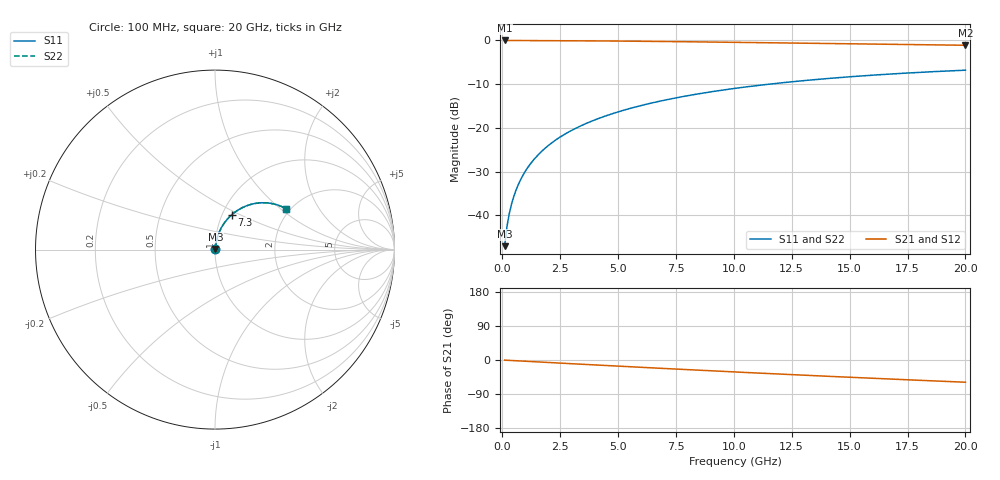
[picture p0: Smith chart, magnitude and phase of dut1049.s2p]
! Touchstone file exported from HFSS 2026.1.0
!  File:  C:/ffzhzh/LocalFiles/Ansys_Project_Files/temp_train_BSMRDL_1049_1783173895_55132.aedt
!  Generated:  10:06:20 PM Jul  4, 2026
!  Design:  BSMRDL
!  Project:  temp_train_BSMRDL_1049_1783173895_55132
! Variables:
!  h_bsmrdl = 4.6um
!  h_ox = 20um
!  h_rdl = 5um
!  h_sub = 80um
!  h_tmrdl = 5um
!  h_tsv = 80um
!  h_via = 3um
!  l_bsmrdl = 926.06um
!  l_sub = 1326.06um
!  l_tmrdl = 200um
!  m_sub = 200um
!  pitch = 58.53um
!  r_tsv = 6um
!  s_tmrdl = 10um
!  w_bsmrdl = 28.5um
!  w_sub = 500um
!  w_tmrdl = 12um
!  x_tsv_center1 = 206um
!  x_tsv_center2 = 1160.56um
!  x_tsv_center3 = 1372.56um
!  x_tsv_center4 = 2327.12um
!  x_tsv_center5 = 2539.12um
!  x_tsv_center6 = 3493.68um
# GHz S MA R 50.000000
! Terminal data exported
! Port[1] = BSM_RDL1_1_T1
! Port[2] = BSM_RDL1_1_T2
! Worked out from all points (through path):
!   200 points, 100 MHz to 20 GHz, reference 50 ohm
!   highest |S21| = -0.02 dB at 100 MHz (marker M1); lowest = -1.1 dB at 20 GHz (marker M2)
!   group delay of S21, straight-line fit = 8.14 ps
!   lowest |S11| = -47.1 dB at 100 MHz (marker M3), VSWR 1.01, Z = 50.3 + j0.349 ohm
!   |S11| at or under -10 dB: start of sweep to 11.56 GHz
!   |S22| runs from -47.1 to -6.8 dB; largest |S21 - S12| = 1.3e-14
!   S11 on the Smith chart (normalised r, x): 100 MHz: 1.01, +0.01; 7.3 GHz: 1.11, +0.45; 20 GHz: 1.89, +1.09
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0.1  0.004436 51.4  0.9972 -0.3  0.9972 -0.3  0.004436 51.4
! Gamma 0 0 0 0
! Port Impedance 50 0 50 0
0.2  0.00739 65.5  0.997 -0.7  0.997 -0.7  0.00739 65.5
0.3  0.01041 71.3  0.9968 -1.0  0.9968 -1.0  0.01041 71.3
0.4  0.01345 74.6  0.9966 -1.3  0.9966 -1.3  0.01345 74.6
0.5  0.01651 76.6  0.9965 -1.7  0.9965 -1.7  0.01651 76.6
0.7  0.0227 78.9  0.9963 -2.3  0.9963 -2.3  0.0227 78.9
1  0.03204 80.2  0.9959 -3.3  0.9959 -3.3  0.03204 80.2
1.2  0.03828 80.4  0.9955 -4.0  0.9955 -4.0  0.03828 80.4
1.4  0.04452 80.4  0.9952 -4.6  0.9952 -4.6  0.04452 80.4
1.7  0.05385 80.1  0.9945 -5.6  0.9945 -5.6  0.05385 80.1
2  0.06313 79.5  0.9937 -6.6  0.9937 -6.6  0.06313 79.5
2.7  0.08457 77.8  0.9916 -8.9  0.9916 -8.9  0.08457 77.8
3.5  0.1086 75.6  0.9885 -11.4  0.9885 -11.4  0.1086 75.6
4.2  0.1292 73.6  0.9854 -13.7  0.9854 -13.7  0.1291 73.6
5  0.1521 71.2  0.9815 -16.2  0.9815 -16.2  0.1521 71.2
6.8  0.2016 65.9  0.9713 -21.8  0.9713 -21.8  0.2016 65.9
7.3  0.2148 64.4  0.9682 -23.3  0.9682 -23.3  0.2148 64.4
8.6  0.2478 60.7  0.9597 -27.3  0.9597 -27.3  0.2478 60.6
10.1  0.2838 56.4  0.9492 -31.7  0.9492 -31.7  0.2838 56.3
13.4  0.3538 47.2  0.9248 -41.2  0.9248 -41.2  0.3538 47.1
16.7  0.4111 38.5  0.9006 -50.1  0.9006 -50.1  0.4111 38.4
20  0.456 30.1  0.8788 -58.6  0.8788 -58.6  0.456 30.0
